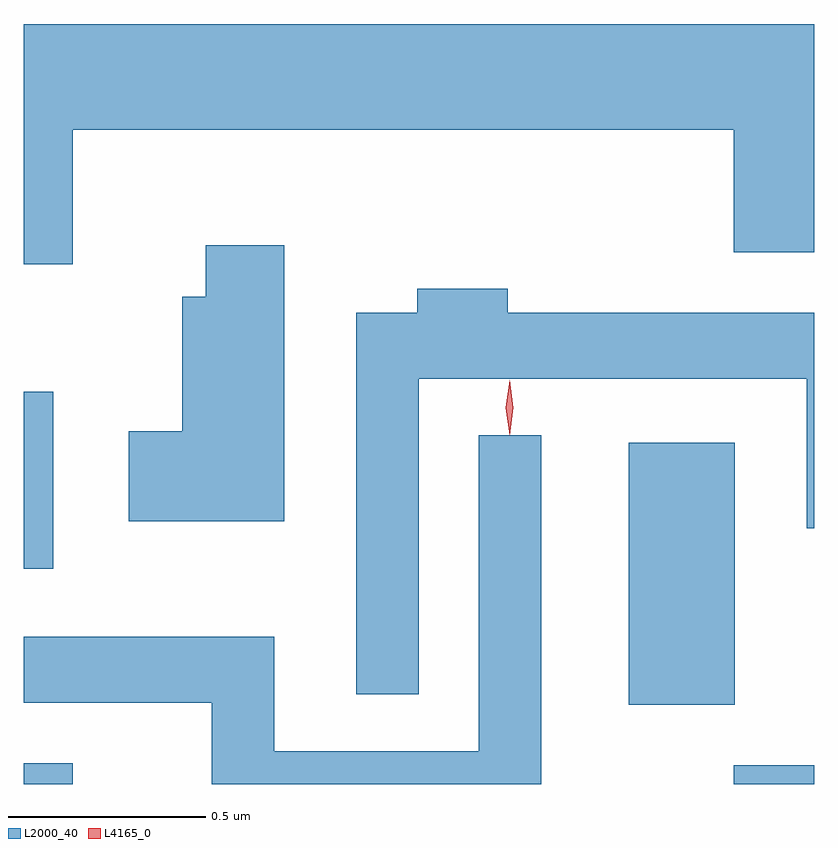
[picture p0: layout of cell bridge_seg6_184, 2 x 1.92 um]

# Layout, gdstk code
import gdstk
lib = gdstk.Library(unit=1e-6, precision=1e-09)
def R(c, l, rs):  # rectangles x0, y0, x1, y1
    for r in rs: c.add(gdstk.rectangle(r[:2], r[2:], *l))
def P(c, l, *ps):  # polygons
    for p in ps: c.add(gdstk.Polygon(p, *l))
L2000_40 = (2000, 40)
L4165_0 = (4165, 0)

bridge_seg6_184 = lib.new_cell('bridge_seg6_184')
R(bridge_seg6_184, L2000_40, [(1049.925,1568.361,1050.049,1568.414), (1051.721,1568.361,1051.925,1568.409), (1051.456,1568.561,1051.724,1569.224), (1049.925,1568.906,1049.999,1569.354)])
P(bridge_seg6_184, L2000_40, [(1050.049,1570.016),(1051.721,1570.016),(1051.721,1569.706),(1051.925,1569.706),(1051.925,1570.284),(1049.925,1570.284),(1049.925,1569.676),(1050.049,1569.676)],
  [(1050.584,1569.724),(1050.386,1569.724),(1050.386,1569.594),(1050.326,1569.594),(1050.326,1569.254),(1050.191,1569.254),(1050.191,1569.026),(1050.584,1569.026)],
  [(1050.924,1569.386),(1051.906,1569.386),(1051.906,1569.008),(1051.925,1569.008),(1051.925,1569.554),(1051.149,1569.554),(1051.149,1569.614),(1050.921,1569.614),(1050.921,1569.554),(1050.766,1569.554),(1050.766,1568.588),(1050.924,1568.588)],
  [(1051.234,1569.243),(1051.076,1569.243),(1051.076,1568.444),(1050.559,1568.444),(1050.559,1568.734),(1049.925,1568.734),(1049.925,1568.566),(1050.401,1568.566),(1050.401,1568.361),(1051.234,1568.361)])
P(bridge_seg6_184, L4165_0, [(1051.154,1569.244),(1051.154,1569.244),(1051.144,1569.313),(1051.154,1569.383),(1051.154,1569.383),(1051.155,1569.383),(1051.164,1569.313),(1051.155,1569.244)])

lib.write_gds('bridge_seg6_184.gds')
